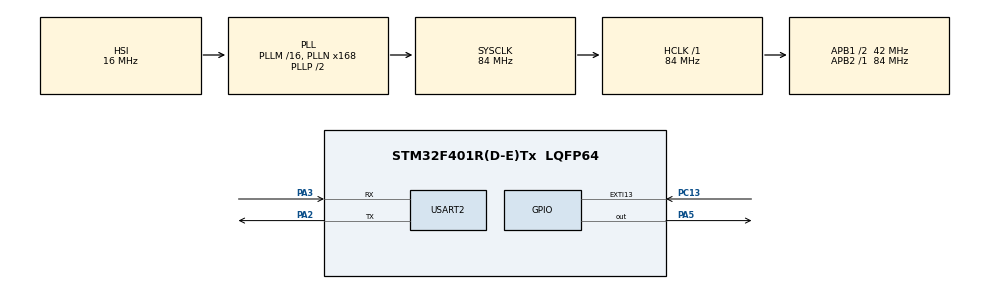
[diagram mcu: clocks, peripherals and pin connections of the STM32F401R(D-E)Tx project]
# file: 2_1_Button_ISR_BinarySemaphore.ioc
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FREERTOS.BinarySemaphores01=xButtonSemaphore,Dynamic,NULL,Available
FREERTOS.Tasks01=ButtonTask,32,256,StartButtonTask,Default,NULL,Dynamic,NULL,NULL
FREERTOS.configUSE_NEWLIB_REENTRANT=1
Mcu.Family=STM32F4
Mcu.Name=STM32F401R(D-E)Tx
Mcu.Package=LQFP64
NVIC.EXTI15_10_IRQn=true\:5\:0\:true\:false\:true\:true\:true\:true\:true
NVIC.PriorityGroup=NVIC_PRIORITYGROUP_4
NVIC.TIM5_IRQn=true\:15\:0\:false\:false\:true\:false\:false\:true\:true
NVIC.TimeBase=TIM5_IRQn
NVIC.TimeBaseIP=TIM5
PA2.Mode=Asynchronous
PA2.Signal=USART2_TX
PA3.Mode=Asynchronous
PA3.Signal=USART2_RX
PA5.Signal=GPIO_Output
PC13-ANTI_TAMP.GPIO_ModeDefaultEXTI=GPIO_MODE_IT_FALLING
PC13-ANTI_TAMP.GPIO_PuPd=GPIO_PULLUP
PC13-ANTI_TAMP.Signal=GPXTI13
ProjectManager.HeapSize=0x200
ProjectManager.StackSize=0x400
ProjectManager.TargetToolchain=STM32CubeIDE
RCC.48MHZClocksFreq_Value=42000000
RCC.AHBFreq_Value=84000000
RCC.APB1CLKDivider=RCC_HCLK_DIV2
RCC.APB1Freq_Value=42000000
RCC.APB1TimFreq_Value=84000000
RCC.APB2Freq_Value=84000000
RCC.APB2TimFreq_Value=84000000
RCC.CortexFreq_Value=84000000
RCC.HCLKFreq_Value=84000000
RCC.HSE_VALUE=25000000
RCC.HSI_VALUE=16000000
RCC.LSE_VALUE=32768
RCC.PLLN=168
RCC.SYSCLKFreq_VALUE=84000000
RCC.SYSCLKSource=RCC_SYSCLKSOURCE_PLLCLK
RCC.VCOOutputFreq_Value=168000000
USART2.VirtualMode=VM_ASYNC
VP_FREERTOS_VS_CMSIS_V2.Mode=CMSIS_V2
VP_SYS_VS_tim5.Mode=TIM5
board=custom

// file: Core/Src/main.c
/* USER CODE BEGIN Header */
/**
  ******************************************************************************
  * @file           : main.c
  * @brief          : Main program body
  ******************************************************************************
  * @attention
  *
  * Copyright (c) 2026 STMicroelectronics.
  * All rights reserved.
  *
  * This software is licensed under terms that can be found in the LICENSE file
  * in the root directory of this software component.
  * If no LICENSE file comes with this software, it is provided AS-IS.
  *
  ******************************************************************************
  */
/* USER CODE END Header */
#include "main.h"
#include "cmsis_os.h"

UART_HandleTypeDef huart2;

/* Definitions for ButtonTask */
osThreadId_t ButtonTaskHandle;
const osThreadAttr_t ButtonTask_attributes = {
  .name = "ButtonTask",
  .stack_size = 256 * 4,
  .priority = (osPriority_t) osPriorityAboveNormal,
};
/* Definitions for xButtonSemaphore */
osSemaphoreId_t xButtonSemaphoreHandle;
const osSemaphoreAttr_t xButtonSemaphore_attributes = {
  .name = "xButtonSemaphore"
};

void SystemClock_Config(void);
static void MX_GPIO_Init(void);
static void MX_USART2_UART_Init(void);
void StartButtonTask(void *argument);

int main(void)
{

  /* MCU Configuration--------------------------------------------------------*/

  /* Reset of all peripherals, Initializes the Flash interface and the Systick. */
  HAL_Init();

  /* Configure the system clock */
  SystemClock_Config();

  /* Initialize all configured peripherals */
  MX_GPIO_Init();
  MX_USART2_UART_Init();

  /* Init scheduler */
  osKernelInitialize();

  /* Create the semaphores(s) */
  /* creation of xButtonSemaphore */
  xButtonSemaphoreHandle = osSemaphoreNew(1, 1, &xButtonSemaphore_attributes);

  /* Create the thread(s) */
  /* creation of ButtonTask */
  ButtonTaskHandle = osThreadNew(StartButtonTask, NULL, &ButtonTask_attributes);

  /* Start scheduler */
  osKernelStart();

  /* We should never get here as control is now taken by the scheduler */

  /* Infinite loop */
  while (1)
  {

  }
}

void SystemClock_Config(void)
{
  RCC_OscInitTypeDef RCC_OscInitStruct = {0};
  RCC_ClkInitTypeDef RCC_ClkInitStruct = {0};

  /** Configure the main internal regulator output voltage
  */
  __HAL_RCC_PWR_CLK_ENABLE();
  __HAL_PWR_VOLTAGESCALING_CONFIG(PWR_REGULATOR_VOLTAGE_SCALE2);

  /** Initializes the RCC Oscillators according to the specified parameters
  * in the RCC_OscInitTypeDef structure.
  */
  RCC_OscInitStruct.OscillatorType = RCC_OSCILLATORTYPE_HSI;
  RCC_OscInitStruct.HSIState = RCC_HSI_ON;
  RCC_OscInitStruct.HSICalibrationValue = RCC_HSICALIBRATION_DEFAULT;
  RCC_OscInitStruct.PLL.PLLState = RCC_PLL_ON;
  RCC_OscInitStruct.PLL.PLLSource = RCC_PLLSOURCE_HSI;
  RCC_OscInitStruct.PLL.PLLM = 16;
  RCC_OscInitStruct.PLL.PLLN = 168;
  RCC_OscInitStruct.PLL.PLLP = RCC_PLLP_DIV2;
  RCC_OscInitStruct.PLL.PLLQ = 4;
  if (HAL_RCC_OscConfig(&RCC_OscInitStruct) != HAL_OK)
  {
    Error_Handler();
  }

  /** Initializes the CPU, AHB and APB buses clocks
  */
  RCC_ClkInitStruct.ClockType = RCC_CLOCKTYPE_HCLK|RCC_CLOCKTYPE_SYSCLK
                              |RCC_CLOCKTYPE_PCLK1|RCC_CLOCKTYPE_PCLK2;
  RCC_ClkInitStruct.SYSCLKSource = RCC_SYSCLKSOURCE_PLLCLK;
  RCC_ClkInitStruct.AHBCLKDivider = RCC_SYSCLK_DIV1;
  RCC_ClkInitStruct.APB1CLKDivider = RCC_HCLK_DIV2;
  RCC_ClkInitStruct.APB2CLKDivider = RCC_HCLK_DIV1;

  if (HAL_RCC_ClockConfig(&RCC_ClkInitStruct, FLASH_LATENCY_2) != HAL_OK)
  {
    Error_Handler();
  }
}

static void MX_USART2_UART_Init(void)
{

  huart2.Instance = USART2;
  huart2.Init.BaudRate = 115200;
  huart2.Init.WordLength = UART_WORDLENGTH_8B;
  huart2.Init.StopBits = UART_STOPBITS_1;
  huart2.Init.Parity = UART_PARITY_NONE;
  huart2.Init.Mode = UART_MODE_TX_RX;
  huart2.Init.HwFlowCtl = UART_HWCONTROL_NONE;
  huart2.Init.OverSampling = UART_OVERSAMPLING_16;
  if (HAL_UART_Init(&huart2) != HAL_OK)
  {
    Error_Handler();
  }

}

static void MX_GPIO_Init(void)
{
  GPIO_InitTypeDef GPIO_InitStruct = {0};

  /* GPIO Ports Clock Enable */
  __HAL_RCC_GPIOC_CLK_ENABLE();
  __HAL_RCC_GPIOA_CLK_ENABLE();

  /*Configure GPIO pin Output Level */
  HAL_GPIO_WritePin(GPIOA, GPIO_PIN_5, GPIO_PIN_RESET);

  /*Configure GPIO pin : PC13 */
  GPIO_InitStruct.Pin = GPIO_PIN_13;
  GPIO_InitStruct.Mode = GPIO_MODE_IT_FALLING;
  GPIO_InitStruct.Pull = GPIO_PULLUP;
  HAL_GPIO_Init(GPIOC, &GPIO_InitStruct);

  /*Configure GPIO pin : PA5 */
  GPIO_InitStruct.Pin = GPIO_PIN_5;
  GPIO_InitStruct.Mode = GPIO_MODE_OUTPUT_PP;
  GPIO_InitStruct.Pull = GPIO_NOPULL;
  GPIO_InitStruct.Speed = GPIO_SPEED_FREQ_LOW;
  HAL_GPIO_Init(GPIOA, &GPIO_InitStruct);

  /* EXTI interrupt init*/
  HAL_NVIC_SetPriority(EXTI15_10_IRQn, 5, 0);
  HAL_NVIC_EnableIRQ(EXTI15_10_IRQn);

}

void StartButtonTask(void *argument)
{
  /* USER CODE BEGIN 5 */
	char buf[64];
	uint32_t pressCount = 0;
	vPrintUART("button task started-blocking on semaphore\r\n");
  /* Infinite loop */
  for(;;)
  {
    xQueueSemaphoreTake(xButtonSemaphoreHandle, portMAX_DELAY);
    pressCount++;
    HAL_GPIO_TogglePin(GPIOA, GPIO_PIN_5);
    sniprintf(buf, sizeof(buf), "button task : button pressed count = %lu LED = %s\r\n", pressCount, (HAL_GPIO_ReadPin(GPIOA, GPIO_PIN_5)==GPIO_PIN_SET)? "ON" : "OFF");
    vPrintUART(buf);
    vTaskDelay(pdMS_TO_TICKS(200));

  }
  /* USER CODE END 5 */
}

void HAL_TIM_PeriodElapsedCallback(TIM_HandleTypeDef *htim)
{
  if (htim->Instance == TIM5)
  {
    HAL_IncTick();
  }
}

void Error_Handler(void)
{
  __disable_irq();
  while (1)
  {
  }
}

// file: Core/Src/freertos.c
/* USER CODE BEGIN Header */
/**
  ******************************************************************************
  * File Name          : freertos.c
  * Description        : Code for freertos applications
  ******************************************************************************
  * @attention
  *
  * Copyright (c) 2026 STMicroelectronics.
  * All rights reserved.
  *
  * This software is licensed under terms that can be found in the LICENSE file
  * in the root directory of this software component.
  * If no LICENSE file comes with this software, it is provided AS-IS.
  *
  ******************************************************************************
  */
/* USER CODE END Header */

#include "FreeRTOS.h"
#include "task.h"
#include "main.h"

/* USER CODE BEGIN Includes */
#include "semphr.h"
#include "string.h"
#include "stdio.h"
/* USER CODE END Includes */

/* USER CODE BEGIN Variables */
//SemaphoreHandle_t xButtonSemaphore;
//extern USART_TypeDef huart2;
extern UART_HandleTypeDef huart2;
/* USER CODE END Variables */

/* USER CODE BEGIN Application */
void vPrintUART(const char * msg){
	HAL_UART_Transmit(&huart2, (uint8_t*)msg, strlen(msg), 100);

}
/* USER CODE END Application */
